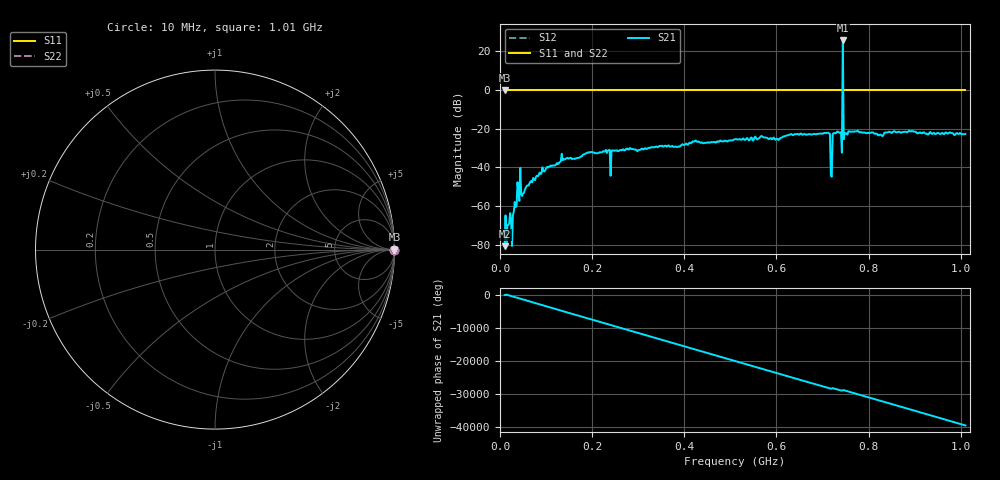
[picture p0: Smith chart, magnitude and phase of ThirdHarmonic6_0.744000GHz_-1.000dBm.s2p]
! 8/16/2025 12:54:09 AM
! C:\ANRITSUVNA\TEMP\TEMP.S2P
! CHANNEL.1
! TR.MEASUREMENT
! RAW.DATA
! RF.CORRECTION.OFF
! AVERAGING.OFF
! IF.BANDWIDTH: 5KHZ
! SWEEPTYPE:  FREQ.SWEEP(Linear)
! Reference Plane Port Info
! PORT:  PORT1  PORT2
! DISTANCE:  0  m  0  m
! TIME:  0  s  0  s
! PHASE.OFFSET:  0  deg.  0  deg.
! LOSS:  0  dB  0  dB
! REF.LOSS:  0  dB  0  dB
! REF.FREQ:  0  Hz  0  Hz
! Power Info
! POWER:  -20  dBm  -20  dBm
! EFF.POWER:  -20  dBm  -20  dBm
! SOURCE.ATTEN:  0  dB  0  dB
! TEST.ATTEN:  0  dB  0  dB
# GHZ S RI R 50.0
! FREQ.GHZ  S11RE  S11IM  S21RE  S21IM  S12RE  S12IM  S22RE  S22IM
!; PortSelection: Port_12
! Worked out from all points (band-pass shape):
!   501 points, 10 MHz to 1.01 GHz, reference 50 ohm
!   highest |S21| = 25.65 dB at 744 MHz (marker M1); lowest = -80.7 dB at 10 MHz (marker M2)
!   |S21| within 3 dB of the highest: 743.8966 MHz to 744.1176 MHz (221 kHz wide, 0.0297 % of centre)
!   lowest |S11| = 0.0 dB at 10 MHz (marker M3)
!   |S11| at or under -10 dB: nowhere
!   |S22| runs from 0.0 to 0.0 dB; largest |S21 - S12| = 19
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0.01  1 0  -6.68e-05 -6.32e-05  1 0  1 0
0.02  1 0  -0.000119 0.000337  1 0  1 0
0.03  1 0  0.000145 0.000705  1 0  1 0
0.042  1 0  0.000899 -0.00102  1 0  1 0
0.05  1 0  0.00209 -0.000397  1 0  1 0
0.104  1 0  0.00516 -0.00847  1 0  1 0
0.178  1 0  -0.0194 -0.00221  1 0  1 0
0.344  1 0  0.0303 -0.0162  1 0  1 0
0.51  1 0  -0.0348 0.0406  1 0  1 0
0.678  1 0  -0.0679 -0.0221  1 0  1 0
0.712  1 0  -0.0132 -0.078  1 0  1 0
0.716  1 0  -0.0145 0.0724  1 0  1 0
0.718  1 0  0.00274 0.00558  1 0  1 0
0.722  1 0  -0.0559 -0.0444  1 0  1 0
0.726  1 0  0.0402 0.0656  1 0  1 0
0.738  1 0  0.0336 -0.0699  1 0  1 0
0.74  1 0  -0.065 -0.0496  1 0  1 0
0.744  1 0  12.06 -14.88  1 0  1 0
0.748  1 0  -0.0414 -0.0663  1 0  1 0
0.75  1 0  -0.0719 0.0216  1 0  1 0
0.844  1 0  0.0748 -0.0366  1 0  1 0
1.01  1 0  -0.018 0.0709  1 0  1 0
